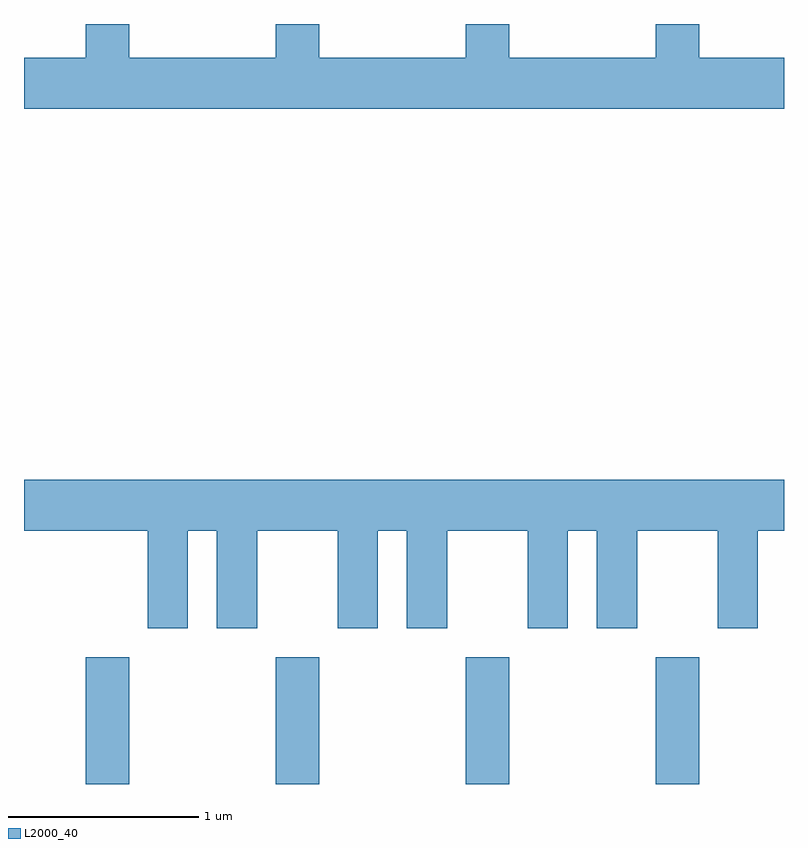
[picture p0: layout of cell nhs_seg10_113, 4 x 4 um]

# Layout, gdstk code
import gdstk
lib = gdstk.Library(unit=1e-6, precision=1e-09)
def R(c, l, rs):  # rectangles x0, y0, x1, y1
    for r in rs: c.add(gdstk.rectangle(r[:2], r[2:], *l))
def A(c, l, x, y, w, h, nx, ny, dx, dy):  # array of equal rectangles
    R(c, l, [(x+i*dx, y+j*dy, x+i*dx+w, y+j*dy+h) for i in range(nx) for j in range(ny)])
def P(c, l, *ps):  # polygons
    for p in ps: c.add(gdstk.Polygon(p, *l))
L2000_40 = (2000, 40)

nhs_seg10_113 = lib.new_cell('nhs_seg10_113')
A(nhs_seg10_113, L2000_40, 187.936, 2172.522, 0.228, 0.667, 4, 1, 1, 0)
P(nhs_seg10_113, L2000_40, [(191.611,2176.344),(191.164,2176.344),(191.164,2176.522),(190.936,2176.522),(190.936,2176.344),(190.164,2176.344),(190.164,2176.522),(189.936,2176.522),(189.936,2176.344),(189.164,2176.344),(189.164,2176.522),(188.936,2176.522),(188.936,2176.344),(188.164,2176.344),(188.164,2176.522),(187.936,2176.522),(187.936,2176.344),(187.611,2176.344),(187.611,2176.076),(191.611,2176.076)],
  [(188.474,2173.856),(188.626,2173.856),(188.626,2173.341),(188.839,2173.341),(188.839,2173.856),(189.261,2173.856),(189.261,2173.341),(189.474,2173.341),(189.474,2173.856),(189.626,2173.856),(189.626,2173.341),(189.839,2173.341),(189.839,2173.856),(190.261,2173.856),(190.261,2173.341),(190.474,2173.341),(190.474,2173.856),(190.626,2173.856),(190.626,2173.341),(190.839,2173.341),(190.839,2173.856),(191.261,2173.856),(191.261,2173.341),(191.474,2173.341),(191.474,2173.856),(191.611,2173.856),(191.611,2174.124),(187.611,2174.124),(187.611,2173.856),(188.261,2173.856),(188.261,2173.341),(188.474,2173.341)])

lib.write_gds('nhs_seg10_113.gds')
